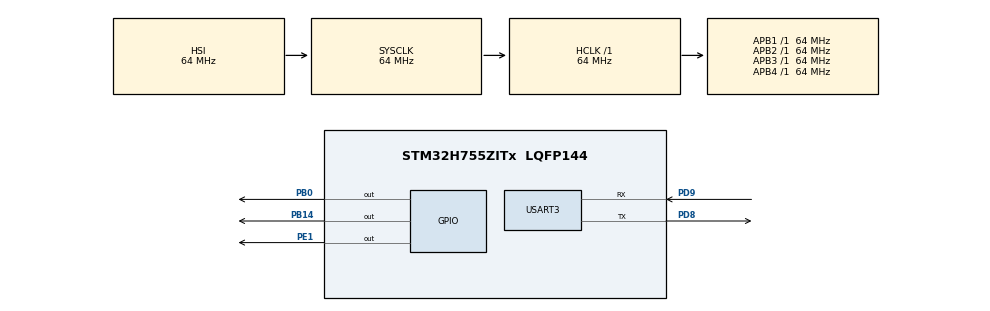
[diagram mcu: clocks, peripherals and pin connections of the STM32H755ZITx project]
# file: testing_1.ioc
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CORTEX_M7.CPU_DCache=Enabled
CORTEX_M7.CPU_ICache=Enabled
CORTEX_M7.default_mode_Activation=1
CortexM4.IPs=BDMA,CORTEX_M4\:I,DMA,FATFS_M4\:I,FREERTOS_M4\:I,GPIO,IWDG2\:I,MDMA,NVIC2\:I,OPENAMP_M4\:I,PDM2PCM_M4\:I,PWR,RCC,RESMGR_UTILITY,SYS_M4\:I,USB_DEVICE_M4\:I,USB_HOST_M4\:I,VREFBUF,WWDG2\:I
CortexM7.IPs=BDMA\:I,CORTEX_M7\:I,DMA\:I,FATFS_M7\:I,FREERTOS_M7\:I,GPIO\:I,IWDG1\:I,MDMA\:I,NVIC1\:I,OPENAMP_M7\:I,PDM2PCM_M7\:I,PWR\:I,RCC\:I,RESMGR_UTILITY\:I,SYS\:I,USB_DEVICE_M7\:I,USB_HOST_M7\:I,VREFBUF\:I,WWDG1\:I,MEMORYMAP\:I,USART3\:I
CortexM7.Pins=PB0,PB14,PE1
Mcu.Family=STM32H7
Mcu.Name=STM32H755ZITx
Mcu.Package=LQFP144
NVIC1.PriorityGroup=NVIC_PRIORITYGROUP_4
NVIC1.USART3_IRQn=true\:0\:0\:false\:false\:true\:true\:true\:true
NVIC2.PriorityGroup=NVIC_PRIORITYGROUP_4
PB0.PinAttribute=CortexM7
PB0.Signal=GPIO_Output
PB14.PinAttribute=CortexM7
PB14.Signal=GPIO_Output
PD8.Mode=Asynchronous
PD8.PinAttribute=CortexM7
PD8.Signal=USART3_TX
PD9.Mode=Asynchronous
PD9.PinAttribute=CortexM7
PD9.Signal=USART3_RX
PE1.PinAttribute=CortexM7
PE1.Signal=GPIO_Output
PH0-OSC_IN\ (PH0).Mode=HSE-External-Oscillator
PH0-OSC_IN\ (PH0).PinAttribute=Free
PH0-OSC_IN\ (PH0).Signal=RCC_OSC_IN
PH1-OSC_OUT\ (PH1).Mode=HSE-External-Oscillator
PH1-OSC_OUT\ (PH1).PinAttribute=Free
PH1-OSC_OUT\ (PH1).Signal=RCC_OSC_OUT
ProjectManager.HeapSize=M4-0x200,M7-0x200
ProjectManager.StackSize=M4-0x400,M7-0x400
ProjectManager.TargetToolchain=STM32CubeIDE
RCC.ADCFreq_Value=129000000
RCC.APB1Freq_Value=64000000
RCC.APB2Freq_Value=64000000
RCC.APB3Freq_Value=64000000
RCC.APB4Freq_Value=64000000
RCC.CortexFreq_Value=64000000
RCC.HCLKFreq_Value=64000000
RCC.PWR_Regulator_Voltage_Scale=PWR_REGULATOR_VOLTAGE_SCALE1
RCC.SYSCLKFreq_VALUE=64000000
RCC.USBFreq_Value=129000000
SYS.userName=SYS_M7
USART3.VirtualMode-Asynchronous=VM_ASYNC
VP_MEMORYMAP_VS_MEMORYMAP.Mode=CurAppReg
VP_SYS_M4_VS_Systick.Mode=SysTick
board=custom

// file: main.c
/* USER CODE BEGIN Header */
/**
  ******************************************************************************
  * @file           : main.c
  * @brief          : Main program body
  ******************************************************************************
  * @attention
  *
  * Copyright (c) 2025 STMicroelectronics.
  * All rights reserved.
  *
  * This software is licensed under terms that can be found in the LICENSE file
  * in the root directory of this software component.
  * If no LICENSE file comes with this software, it is provided AS-IS.
  *
  ******************************************************************************
  */
/* USER CODE END Header */
#include "main.h"
#include "usart.h"
#include "gpio.h"

/* USER CODE BEGIN Includes */
#include "string.h"
#include "stdio.h"
/* USER CODE END Includes */

/* USER CODE BEGIN PD */

#ifndef HSEM_ID_0
#define HSEM_ID_0 (0U) /* HW semaphore 0*/
#endif

/* USER CODE END PD */

/* USER CODE BEGIN PV */
//uint8_t tx_buffer[]= "Finallyyy!!!(ToT)\n\r";

/* USER CODE END PV */

void SystemClock_Config(void);
static void MPU_Config(void);

int main(void)
{

/* USER CODE BEGIN Boot_Mode_Sequence_0 */
  int32_t timeout;
/* USER CODE END Boot_Mode_Sequence_0 */

  /* MPU Configuration--------------------------------------------------------*/
  MPU_Config();

  /* Enable the CPU Cache */

  /* Enable I-Cache---------------------------------------------------------*/
  SCB_EnableICache();

  /* Enable D-Cache---------------------------------------------------------*/
  SCB_EnableDCache();

/* USER CODE BEGIN Boot_Mode_Sequence_1 */
  /* Wait until CPU2 boots and enters in stop mode or timeout*/
  timeout = 0xFFFF;
  while((__HAL_RCC_GET_FLAG(RCC_FLAG_D2CKRDY) != RESET) && (timeout-- > 0));
  if ( timeout < 0 )
  {
  Error_Handler();
  }
/* USER CODE END Boot_Mode_Sequence_1 */
  /* MCU Configuration--------------------------------------------------------*/

  /* Reset of all peripherals, Initializes the Flash interface and the Systick. */
  HAL_Init();

  /* Configure the system clock */
  SystemClock_Config();
/* USER CODE BEGIN Boot_Mode_Sequence_2 */
/* When system initialization is finished, Cortex-M7 will release Cortex-M4 by means of
HSEM notification */
/*HW semaphore Clock enable*/
__HAL_RCC_HSEM_CLK_ENABLE();
/*Take HSEM */
HAL_HSEM_FastTake(HSEM_ID_0);
/*Release HSEM in order to notify the CPU2(CM4)*/
HAL_HSEM_Release(HSEM_ID_0,0);
/* wait until CPU2 wakes up from stop mode */
timeout = 0xFFFF;
while((__HAL_RCC_GET_FLAG(RCC_FLAG_D2CKRDY) == RESET) && (timeout-- > 0));
if ( timeout < 0 )
{
Error_Handler();
}
/* USER CODE END Boot_Mode_Sequence_2 */

  /* Initialize all configured peripherals */
  MX_GPIO_Init();
  MX_USART3_UART_Init();
  /* USER CODE BEGIN 2 */
  char rxData[10];
  char txData[50];

  /* USER CODE END 2 */

  /* Infinite loop */
  /* USER CODE BEGIN WHILE */
  while (1)
  {
	    // Receive command from serial monitor
	    HAL_UART_Receive(&huart3, (uint8_t*)rxData, sizeof(rxData)-1, HAL_MAX_DELAY);

	    if (strstr(rxData, "RED"))
	       {
	         HAL_GPIO_WritePin(GPIOB, GPIO_PIN_14, GPIO_PIN_SET);
	         HAL_GPIO_WritePin(GPIOE, GPIO_PIN_1, GPIO_PIN_RESET);
	         HAL_GPIO_WritePin(GPIOB, GPIO_PIN_0, GPIO_PIN_RESET);
	         sprintf(txData, "Red LED ON\r\n");
	       }
	       else if (strstr(rxData, "GREEN"))
	       {
	         HAL_GPIO_WritePin(GPIOB, GPIO_PIN_14, GPIO_PIN_RESET);
	         HAL_GPIO_WritePin(GPIOE, GPIO_PIN_1, GPIO_PIN_RESET);
	         HAL_GPIO_WritePin(GPIOB, GPIO_PIN_0, GPIO_PIN_SET);
	         sprintf((char*)txData, "Green LED ON\r\n");
	       }
	       else if (strstr(rxData, "YELLOW"))
	       {
	         HAL_GPIO_WritePin(GPIOB, GPIO_PIN_14, GPIO_PIN_RESET);
	         HAL_GPIO_WritePin(GPIOE, GPIO_PIN_1, GPIO_PIN_SET);
	         HAL_GPIO_WritePin(GPIOB, GPIO_PIN_0, GPIO_PIN_RESET);
	         sprintf(txData, "Yellow LED ON\r\n");
	       }
	       else
	       {
	         sprintf(txData, "Error: Unknown Command\r\n");
	       }

	    HAL_UART_Transmit(&huart3, (uint8_t*)txData, strlen(txData), HAL_MAX_DELAY);

	    memset(rxData, 0, sizeof(rxData)); // Clear buffer

    /* USER CODE END WHILE */

  }
}

void SystemClock_Config(void)
{
  RCC_OscInitTypeDef RCC_OscInitStruct = {0};
  RCC_ClkInitTypeDef RCC_ClkInitStruct = {0};

  /** Supply configuration update enable
  */
  HAL_PWREx_ConfigSupply(PWR_DIRECT_SMPS_SUPPLY);

  /** Configure the main internal regulator output voltage
  */
  __HAL_PWR_VOLTAGESCALING_CONFIG(PWR_REGULATOR_VOLTAGE_SCALE1);

  while(!__HAL_PWR_GET_FLAG(PWR_FLAG_VOSRDY)) {}

  /** Initializes the RCC Oscillators according to the specified parameters
  * in the RCC_OscInitTypeDef structure.
  */
  RCC_OscInitStruct.OscillatorType = RCC_OSCILLATORTYPE_HSI;
  RCC_OscInitStruct.HSIState = RCC_HSI_DIV1;
  RCC_OscInitStruct.HSICalibrationValue = RCC_HSICALIBRATION_DEFAULT;
  RCC_OscInitStruct.PLL.PLLState = RCC_PLL_NONE;
  if (HAL_RCC_OscConfig(&RCC_OscInitStruct) != HAL_OK)
  {
    Error_Handler();
  }

  /** Initializes the CPU, AHB and APB buses clocks
  */
  RCC_ClkInitStruct.ClockType = RCC_CLOCKTYPE_HCLK|RCC_CLOCKTYPE_SYSCLK
                              |RCC_CLOCKTYPE_PCLK1|RCC_CLOCKTYPE_PCLK2
                              |RCC_CLOCKTYPE_D3PCLK1|RCC_CLOCKTYPE_D1PCLK1;
  RCC_ClkInitStruct.SYSCLKSource = RCC_SYSCLKSOURCE_HSI;
  RCC_ClkInitStruct.SYSCLKDivider = RCC_SYSCLK_DIV1;
  RCC_ClkInitStruct.AHBCLKDivider = RCC_HCLK_DIV1;
  RCC_ClkInitStruct.APB3CLKDivider = RCC_APB3_DIV1;
  RCC_ClkInitStruct.APB1CLKDivider = RCC_APB1_DIV1;
  RCC_ClkInitStruct.APB2CLKDivider = RCC_APB2_DIV1;
  RCC_ClkInitStruct.APB4CLKDivider = RCC_APB4_DIV1;

  if (HAL_RCC_ClockConfig(&RCC_ClkInitStruct, FLASH_LATENCY_0) != HAL_OK)
  {
    Error_Handler();
  }
}

 /* MPU Configuration */

void MPU_Config(void)
{
  MPU_Region_InitTypeDef MPU_InitStruct = {0};

  /* Disables the MPU */
  HAL_MPU_Disable();

  /** Initializes and configures the Region and the memory to be protected
  */
  MPU_InitStruct.Enable = MPU_REGION_ENABLE;
  MPU_InitStruct.Number = MPU_REGION_NUMBER0;
  MPU_InitStruct.BaseAddress = 0x0;
  MPU_InitStruct.Size = MPU_REGION_SIZE_4GB;
  MPU_InitStruct.SubRegionDisable = 0x87;
  MPU_InitStruct.TypeExtField = MPU_TEX_LEVEL0;
  MPU_InitStruct.AccessPermission = MPU_REGION_NO_ACCESS;
  MPU_InitStruct.DisableExec = MPU_INSTRUCTION_ACCESS_DISABLE;
  MPU_InitStruct.IsShareable = MPU_ACCESS_SHAREABLE;
  MPU_InitStruct.IsCacheable = MPU_ACCESS_NOT_CACHEABLE;
  MPU_InitStruct.IsBufferable = MPU_ACCESS_NOT_BUFFERABLE;

  HAL_MPU_ConfigRegion(&MPU_InitStruct);
  /* Enables the MPU */
  HAL_MPU_Enable(MPU_PRIVILEGED_DEFAULT);

}

void Error_Handler(void)
{
  __disable_irq();
  while (1)
  {
  }
}
